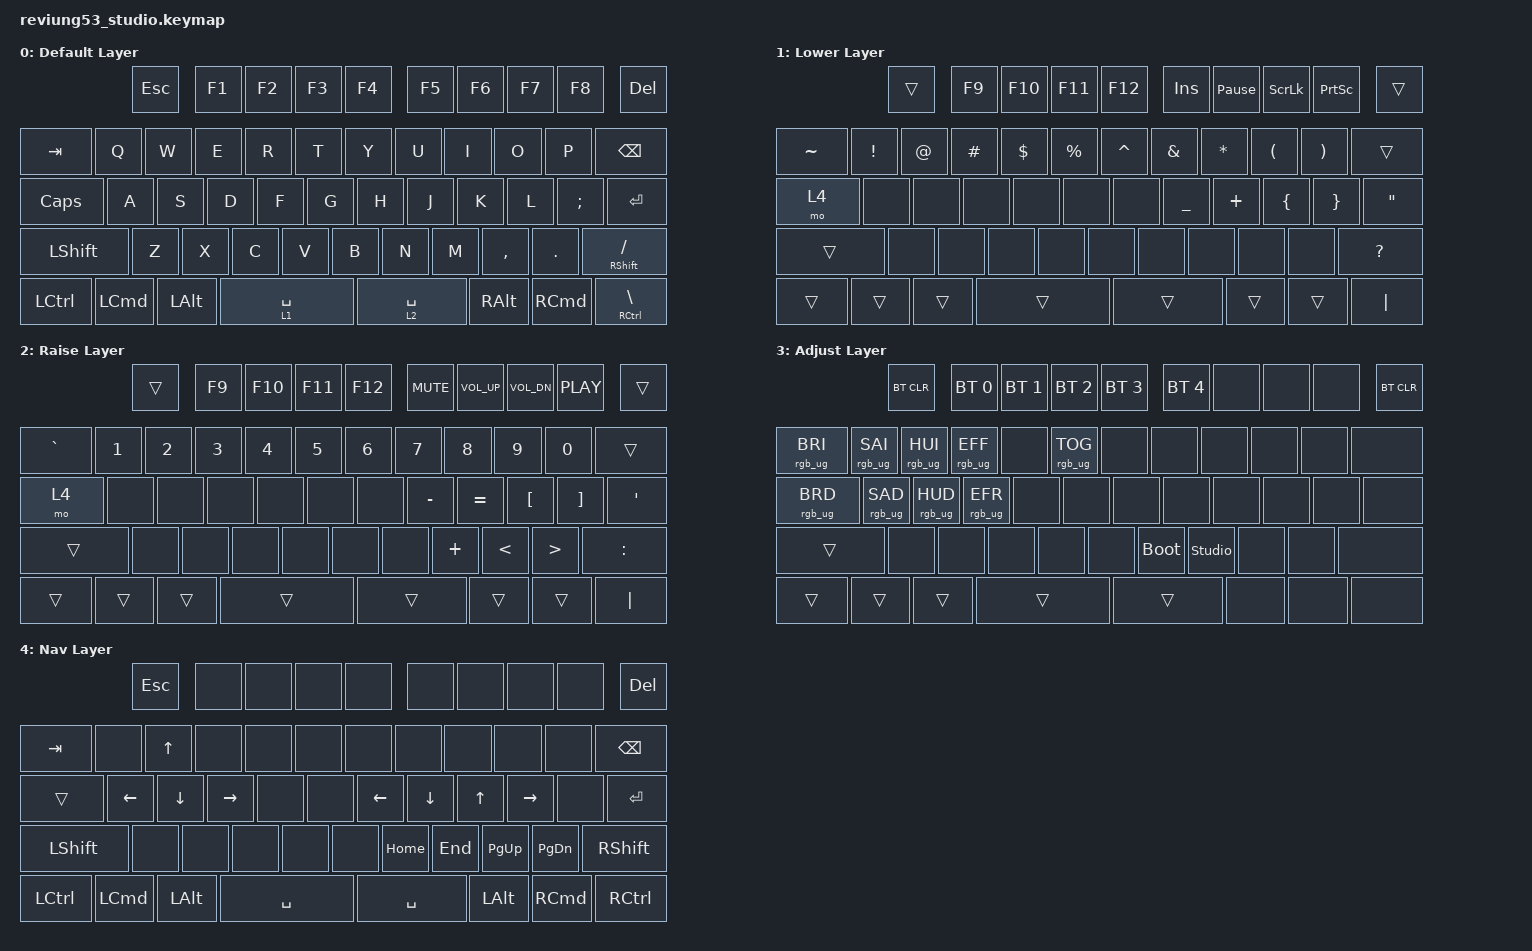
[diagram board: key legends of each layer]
/*
 * Copyright (c) 2023 The ZMK Contributors
 *
 * SPDX-License-Identifier: MIT
 *
 * REVIUNG53 default keymap + ZMK Studio additions:
 *   - &studio_unlock bound on the adjust layer (next to &bootloader)
 *   - two reserved layers for Studio to populate
 */

#include <behaviors.dtsi>
#include <dt-bindings/zmk/keys.h>
#include <dt-bindings/zmk/bt.h>
#include <dt-bindings/zmk/rgb.h>

/ {
    conditional_layers {
        compatible = "zmk,conditional-layers";
        tri_layer {
            if-layers = <1 2>;
            then-layer = <3>;
        };
    };

    keymap {
        compatible = "zmk,keymap";

        default_layer {
            display-name = "Default Layer";
// ----------------------------------------------------------------------------------------
// |      |     | ESC |  F1  |  F2  |  F3  |  F4  |  F5  |  F6  |  F7  |  F8  |   DEL     |
// |  TAB |  Q  |  W  |  E   |  R   |  T   |   Y  |  U   |  I   |  O   |  P   |   BSPC    |
// | CAPS |  A  |  S  |  D   |  F   |  G   |   H  |  J   |  K   |  L   |  ;   |   RET     |
// | SHFT |  Z  |  X  |  C   |  V   |  B   |   N  |  M   |  ,   |  .   |    SHFT(/)       |
// | CTRL | GUI | ALT |      LOWER(SPACE)  | RAISE(SPACE)|  ALT | GUI  |    CTRL(\)       |
// |
            bindings = <
                        &kp ESC  &kp F1  &kp F2       &kp F3  &kp F4       &kp F5  &kp F6     &kp F7    &kp F8    &kp DEL
   &kp TAB     &kp Q    &kp W    &kp E   &kp R        &kp T   &kp Y        &kp U   &kp I      &kp O     &kp P     &kp BSPC
   &kp CAPS    &kp A    &kp S    &kp D   &kp F        &kp G   &kp H        &kp J   &kp K      &kp L     &kp SEMI  &kp RET
   &kp LSHFT   &kp Z    &kp X    &kp C   &kp V        &kp B   &kp N        &kp M   &kp COMMA  &kp DOT             &mt RSHFT FSLH
   &kp LCTRL   &kp LCMD &kp LALT         &lt 1 SPACE          &lt 2 SPACE                     &kp RALT  &kp RCMD  &mt RCTRL BSLH
            >;
        };

        lower_layer {
            display-name = "Lower Layer";
// --------------------------------------------------------------------------------------------
// |      |     |     |  F9  |  F10  |  F11  |  F12  |  INS  |  PAU  |  SCR   |  PSCR  |      |
// |  ~   |  !  |  @  |  #   |  $    |  %    |   ^   |  &    |  *    |  (     |  )     |      |
// |  NAV |     |     |      |       |       |       |  _    |  +    |  {     |  }     |  "   |
// |      |     |     |      |       |       |       |       |       |        |      ?        |
// |      |     |     |                      |               |       |        |      |        |
// |
            bindings = <
                       &trans     &kp F9   &kp F10  &kp F11    &kp F12    &kp INS   &kp PAUSE_BREAK  &kp SLCK   &kp PSCRN  &trans
   &kp TILDE &kp EXCL  &kp AT     &kp HASH &kp DLLR &kp PRCNT  &kp CARET  &kp AMPS  &kp ASTRK        &kp LPAR   &kp RPAR   &trans
   &mo 4     &none     &none      &none    &none    &none      &none      &kp UNDER &kp PLUS         &kp LBRC   &kp RBRC   &kp DQT
   &trans    &none     &none      &none    &none    &none      &none      &none     &none            &none                 &kp QMARK
   &trans    &trans    &trans              &trans              &trans                                &trans     &trans     &kp PIPE
            >;
        };

        raise_layer {
            display-name = "Raise Layer";
// --------------------------------------------------------------------------------------
// |      |     |     |  F9  |  F10  |  F11  |  F12  | MUTE | VOL+ | VOL- | PLAY |      |
// |   `  |  1  |  2  |  3   |   4   |   5   |   6   |   7  |   8  |   9  |  0   |      |
// |  NAV |     |     |      |       |       |       |  -   |   =  |  [   |  ]   |   '  |
// |      |     |     |      |       |       |       |  +   |   <  |  >   |     :       |
// |      |     |     |                      |              |      |      |     |       |
// |
            bindings = <
                       &trans     &kp F9   &kp F10  &kp F11   &kp F12   &kp C_MUTE  &kp C_VOL_UP  &kp C_VOL_DN   &kp C_PLAY  &trans
   &kp GRAVE &kp N1    &kp N2     &kp N3   &kp N4   &kp N5    &kp N6    &kp N7      &kp N8        &kp N9         &kp N0      &trans
   &mo 4     &none     &none      &none    &none    &none     &none     &kp MINUS   &kp EQUAL     &kp LBKT       &kp RBKT    &kp SQT
   &trans    &none     &none      &none    &none    &none     &none     &kp PLUS    &kp LT        &kp GT                     &kp COLON
   &trans    &trans    &trans              &trans             &trans                              &trans         &trans      &kp PIPE
            >;
        };

        adjust_layer {
            display-name = "Adjust Layer";
// ------------------------------------------------------------------------------------------------------------------------
// |          |          | BT CLR   |    BT1   |   BT2    |  BT3      |   BT4  |   BT5  |        |       |      | BT CLR  |
// | RGB BRI+ | RGB SAT+ | RGB HUE+ | RGB ANI+ |          |  RGB TOG  |        |        |        |       |      |         |
// | RGB BRI- | RGB SAT- | RGB HUE- | RGB ANI- |          |           |        |        |        |       |      |         |
// |          |          |          |          |          |           |  BOOT  | STUDIO |        |       |                |
// |          |          |          |                                 |                 |        |       |                |
// |
            bindings = <
                                     &bt BT_CLR       &bt BT_SEL 0     &bt BT_SEL 1  &bt BT_SEL 2     &bt BT_SEL 3   &bt BT_SEL 4   &none    &none   &none   &bt BT_CLR
   &rgb_ug RGB_BRI  &rgb_ug RGB_SAI  &rgb_ug RGB_HUI  &rgb_ug RGB_EFF  &none         &rgb_ug RGB_TOG  &none          &none          &none    &none   &none   &none
   &rgb_ug RGB_BRD  &rgb_ug RGB_SAD  &rgb_ug RGB_HUD  &rgb_ug RGB_EFR  &none         &none            &none          &none          &none    &none   &none   &none
   &trans           &none            &none            &none            &none         &none            &bootloader    &studio_unlock &none    &none           &none
   &trans           &trans           &trans                            &trans                         &trans                                 &none   &none   &none
            >;
        };

        nav_layer {
            display-name = "Nav Layer";
// ------------------------------------------------------------------------------------------------------------------------
// |          |          |    ESC   |          |          |           |        |        |        |       |      |   DEL   |
// | TAB      |          |    UP    |          |          |           |        |        |        |       |      |  BSPC   |
// | NAV      |   LEFT   |   DOWN   |   RIGHT  |          |           |  LEFT  |  DOWN  |  UP    | RIGHT |      |  ENTER  |
// | SHIFT    |          |          |          |          |           |  HOME  |  END   |  PGUP  | PGDN  |     SHIFT      |
// | CTRL     |   GUI    |  ALT     |            SPACE                |      SPACE      |  ALT   | GUI   |     CTRL       |
// |
            bindings = <
                          &kp ESC   &none      &none     &none     &none      &none     &none      &none      &none     &kp DEL
   &kp TAB      &none     &kp UP    &none      &none     &none     &none      &none     &none      &none      &none     &kp BSPC
   &trans       &kp LEFT  &kp DOWN  &kp RIGHT  &none     &none     &kp LEFT   &kp DOWN  &kp UP     &kp RIGHT  &none     &kp RET
   &kp LSHFT    &none     &none     &none      &none     &none     &kp HOME   &kp END   &kp PG_UP  &kp PG_DN            &kp RSHFT
   &kp LCTRL    &kp LCMD  &kp LALT             &kp SPACE           &kp SPACE                       &kp LALT   &kp RCMD  &kp RCTRL
            >;
        };

        // Empty slots that only ZMK Studio-enabled builds expose, so you can
        // add layers live in Studio without reflashing. Ignored otherwise.
        extra_1 { status = "reserved"; };
        extra_2 { status = "reserved"; };
    };
};
